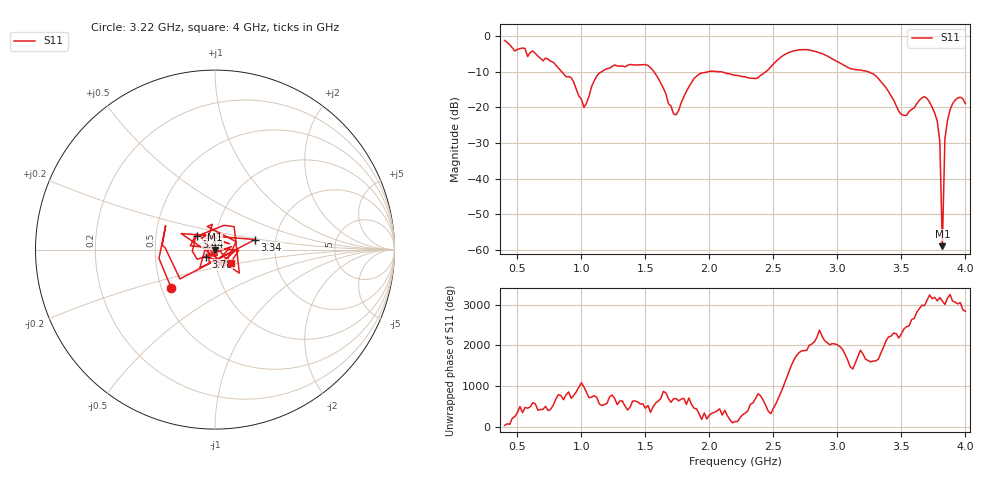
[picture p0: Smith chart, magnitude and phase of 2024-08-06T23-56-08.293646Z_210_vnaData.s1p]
!Created with skrf (http://scikit-rf.org).
# Hz S RI R 50.0
!freq ReS11 ImS11
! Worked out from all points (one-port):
!   181 points, 400 MHz to 4 GHz, reference 50 ohm
!   lowest |S11| = -59.0 dB at 3.82 GHz (marker M1), VSWR 1.00, Z = 49.9 - j0.0555 ohm
!   |S11| at or under -10 dB: 1.567 GHz to 1.989 GHz (421.9 MHz wide, 23.7 % of centre); 2.09 GHz to 2.44 GHz (349.7 MHz wide, 15.4 % of centre); 3.239 GHz to end of sweep (the widest 3 of 4)
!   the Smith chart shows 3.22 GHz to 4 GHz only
!   S11 on the Smith chart (normalised r, x): 3.22 GHz: 0.56, -0.27; 3.34 GHz: 1.56, +0.18; 3.44 GHz: 0.81, +0.12; 3.78 GHz: 0.90, -0.07; 4 GHz: 1.18, -0.17
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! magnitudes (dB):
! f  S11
! 400 MHz  -1.2
! 860 MHz  -10.5
! 920 MHz  -11.7
! 1.02 GHz  -20.0
! 1.14 GHz  -10.4
! 1.3 GHz  -8.4
! 1.52 GHz  -8.2
! 1.6 GHz  -11.8
! 1.72 GHz  -21.8
! 1.76 GHz  -20.8
! 1.92 GHz  -10.6
! 2.2 GHz  -11.0
! 2.38 GHz  -11.7
! 2.66 GHz  -4.1
! 3.1 GHz  -9.1
! 3.22 GHz  -9.8
! 3.34 GHz  -12.8
! 3.44 GHz  -18.0
! 3.5 GHz  -22.0
! 3.56 GHz  -21.2
! 3.68 GHz  -17.0
! 3.78 GHz  -23.8
! 3.8 GHz  -29.4
! 3.82 GHz  -59.0
! 3.84 GHz  -28.8
! 3.86 GHz  -23.7
! 3.92 GHz  -18.0
! 4 GHz  -18.9
